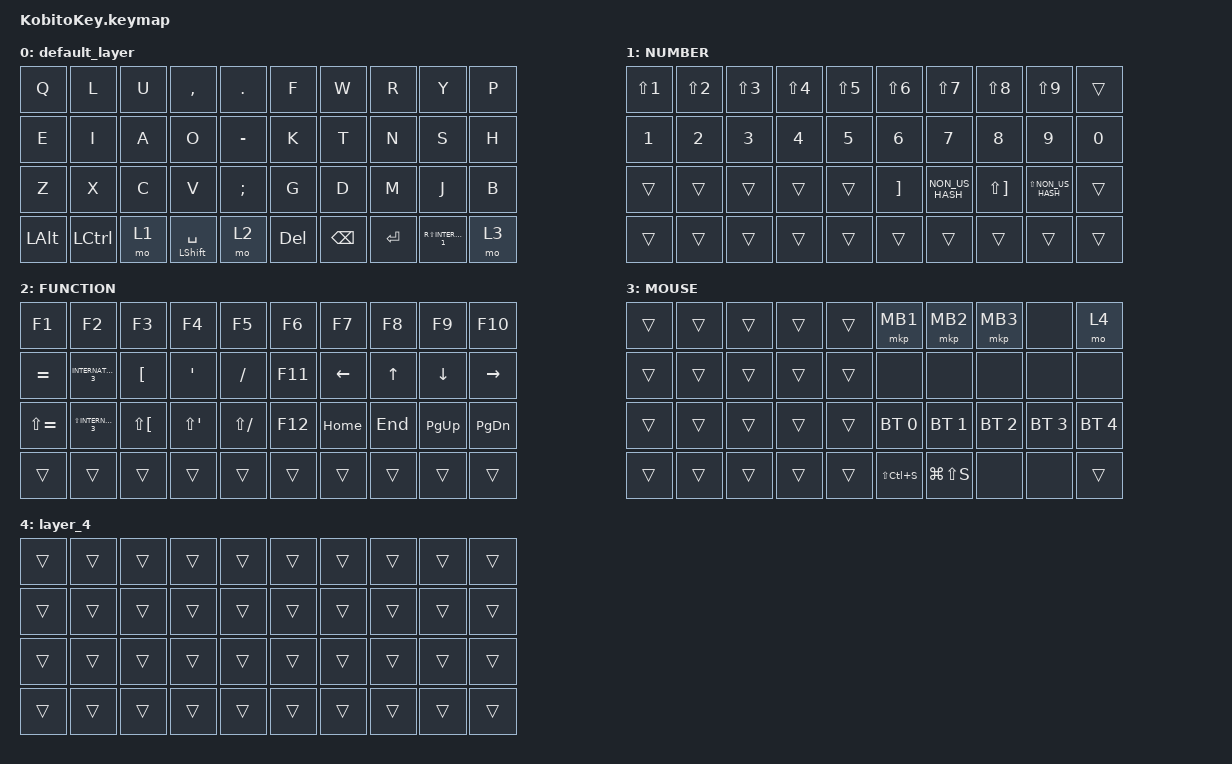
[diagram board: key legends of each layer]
#include <input/processors.dtsi>
#include <behaviors.dtsi>
#include <dt-bindings/zmk/bt.h>
#include <dt-bindings/zmk/keys.h>
#include <dt-bindings/zmk/pointing.h>

/ {
    combos {
        compatible = "zmk,combos";

        combo_eisu {
            timeout-ms = <50>;
            key-positions = <12 13>;
            bindings = <&kp LANG2>;
        };

        combo_kana {
            timeout-ms = <50>;
            key-positions = <16 17>;
            bindings = <&kp LANG1>;
        };

        combo_esc {
            timeout-ms = <50>;
            key-positions = <0 1>;
            bindings = <&kp ESC>;
        };

        combo_tab {
            timeout-ms = <50>;
            key-positions = <10 11>;
            bindings = <&kp TAB>;
        };

        combo_windows {
            bindings = <&kp LEFT_GUI>;
            key-positions = <20 21>;
        };
    };

    keymap {
        compatible = "zmk,keymap";

        default_layer {
            bindings = <
&kp Q         &kp L             &kp U  &kp COMMA             &kp DOT        &kp F       &kp W          &kp R      &kp Y                    &kp P
&kp E         &kp I             &kp A  &kp O                 &kp MINUS      &kp K       &kp T          &kp N      &kp S                    &kp H
&kp Z         &kp X             &kp C  &kp V                 &kp SEMICOLON  &kp G       &kp D          &kp M      &kp J                    &kp B
&kp LEFT_ALT  &kp LEFT_CONTROL  &mo 1  &mt LEFT_SHIFT SPACE  &mo 2          &kp DELETE  &kp BACKSPACE  &kp ENTER  &kp RS(INTERNATIONAL_1)  &mo 3
            >;
        };

        layer1 {
            label = "NUMBER";
            bindings = <
&kp LS(N1)  &kp LS(N2)  &kp LS(N3)  &kp LS(N4)  &kp LS(N5)  &kp LS(N6)         &kp LS(N7)       &kp LS(N8)             &kp LS(N9)           &trans
&kp N1      &kp N2      &kp N3      &kp N4      &kp N5      &kp N6             &kp N7           &kp N8                 &kp N9               &kp N0
&trans      &trans      &trans      &trans      &trans      &kp RIGHT_BRACKET  &kp NON_US_HASH  &kp LS(RIGHT_BRACKET)  &kp LS(NON_US_HASH)  &trans
&trans      &trans      &trans      &trans      &trans      &trans             &trans           &trans                 &trans               &trans
            >;
        };

        layer2 {
            label = "FUNCTION";
            bindings = <
&kp F1         &kp F2                   &kp F3                &kp F4              &kp F5         &kp F6   &kp F7    &kp F8   &kp F9     &kp F10
&kp EQUAL      &kp INTERNATIONAL_3      &kp LEFT_BRACKET      &kp APOSTROPHE      &kp SLASH      &kp F11  &kp LEFT  &kp UP   &kp DOWN   &kp RIGHT
&kp LS(EQUAL)  &kp LS(INTERNATIONAL_3)  &kp LS(LEFT_BRACKET)  &kp LS(APOSTROPHE)  &kp LS(SLASH)  &kp F12  &kp HOME  &kp END  &kp PG_UP  &kp PG_DN
&trans         &trans                   &trans                &trans              &trans         &trans   &trans    &trans   &trans     &trans
            >;
        };

        layer3 {
            label = "MOUSE";
            bindings = <
&trans  &trans  &trans  &trans  &trans  &mkp MB1       &mkp MB2       &mkp MB3      &none         &mo 4
&trans  &trans  &trans  &trans  &trans  &none          &none          &none         &none         &none
&trans  &trans  &trans  &trans  &trans  &bt BT_SEL 0   &bt BT_SEL 1   &bt BT_SEL 2  &bt BT_SEL 3  &bt BT_SEL 4
&trans  &trans  &trans  &trans  &trans  &kp LS(LC(S))  &kp LG(LS(S))  &none         &none         &trans
            >;
        };

        layer_4 {
            bindings = <
&trans  &trans  &trans  &trans  &trans  &trans  &trans  &trans  &trans  &trans
&trans  &trans  &trans  &trans  &trans  &trans  &trans  &trans  &trans  &trans
&trans  &trans  &trans  &trans  &trans  &trans  &trans  &trans  &trans  &trans
&trans  &trans  &trans  &trans  &trans  &trans  &trans  &trans  &trans  &trans
            >;
        };
    };
};
